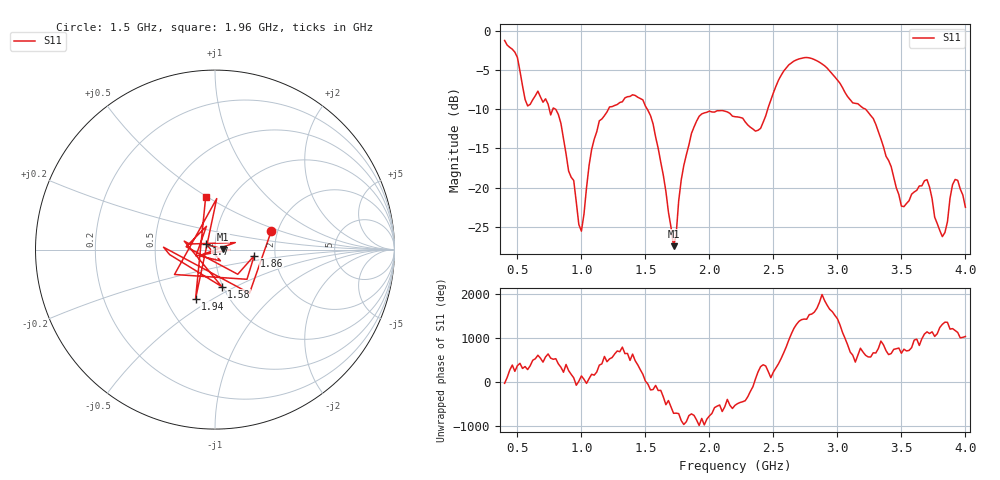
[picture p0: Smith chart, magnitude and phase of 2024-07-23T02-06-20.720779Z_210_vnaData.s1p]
!Created with skrf (http://scikit-rf.org).
# Hz S RI R 50.0
!freq ReS11 ImS11
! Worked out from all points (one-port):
!   181 points, 400 MHz to 4 GHz, reference 50 ohm
!   lowest |S11| = -27.5 dB at 1.72 GHz (marker M1), VSWR 1.09, Z = 54.4 + j0.405 ohm
!   |S11| at or under -10 dB: 795.2 MHz to 1.212 GHz (416.3 MHz wide, 41.5 % of centre); 1.514 GHz to 2.456 GHz (942.3 MHz wide, 47.5 % of centre); 3.218 GHz to end of sweep (the widest 3 of 4)
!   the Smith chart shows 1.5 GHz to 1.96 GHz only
!   S11 on the Smith chart (normalised r, x): 1.5 GHz: 1.85, +0.43; 1.58 GHz: 0.99, -0.43; 1.7 GHz: 0.91, +0.05; 1.86 GHz: 1.56, -0.11; 1.94 GHz: 0.70, -0.42; 1.96 GHz: 0.76, +0.49
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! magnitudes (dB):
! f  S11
! 400 MHz  -1.3
! 500 MHz  -3.4
! 580 MHz  -9.6
! 660 MHz  -7.7
! 860 MHz  -13.8
! 1 GHz  -25.6
! 1.08 GHz  -15.2
! 1.14 GHz  -11.5
! 1.3 GHz  -9.2
! 1.5 GHz  -9.6
! 1.58 GHz  -13.6
! 1.7 GHz  -25.1
! 1.72 GHz  -27.5
! 1.76 GHz  -21.7
! 1.86 GHz  -13.1
! 1.94 GHz  -10.6
! 1.96 GHz  -10.5
! 2.2 GHz  -11.0
! 2.4 GHz  -12.5
! 2.66 GHz  -3.9
! 3.1 GHz  -8.8
! 3.28 GHz  -11.2
! 3.5 GHz  -22.4
! 3.56 GHz  -21.7
! 3.7 GHz  -19.0
! 3.82 GHz  -26.3
! 3.92 GHz  -19.0
! 4 GHz  -22.5
